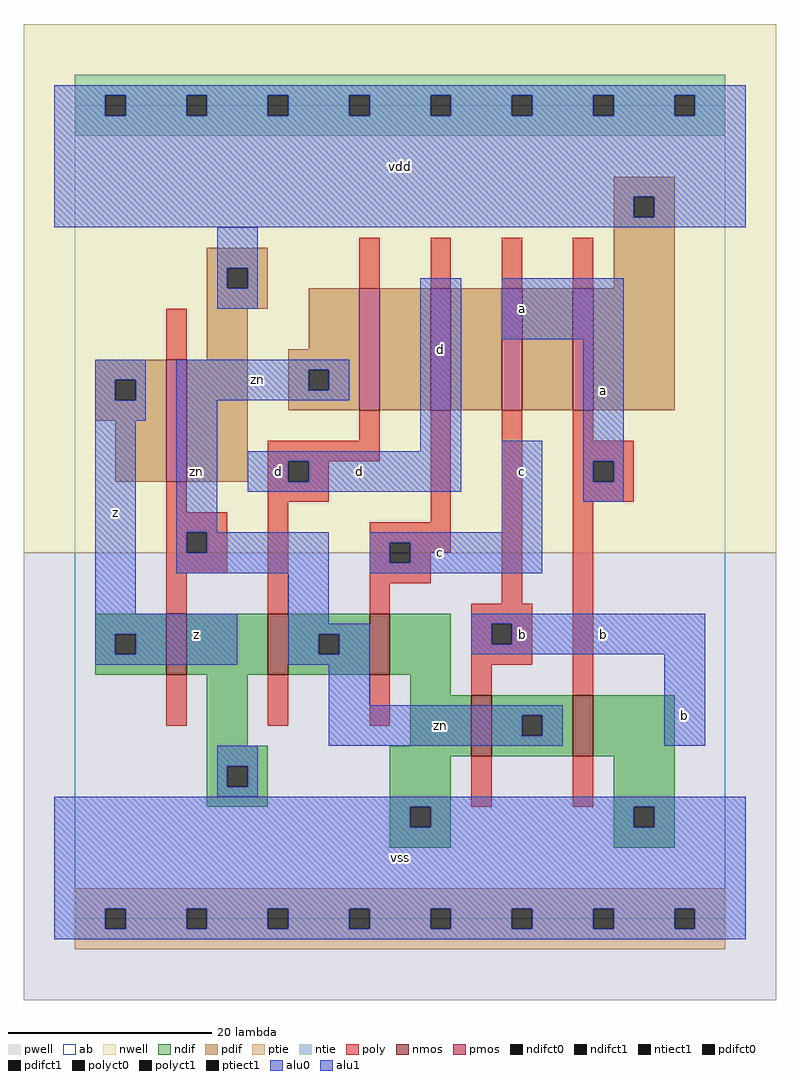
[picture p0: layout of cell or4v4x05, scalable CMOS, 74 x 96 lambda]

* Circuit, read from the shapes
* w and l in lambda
.subckt or4v4x05 a b c d vdd vss z zn
M1 vss zn z vss nfet w=6 l=2
M2 zn d vss vss nfet w=6 l=2
M3 vss c zn vss nfet w=6 l=2
M4 zn b vss vss nfet w=6 l=2
M5 vss a zn vss nfet w=6 l=2
M6 vdd zn z vdd pfet w=12 l=2
M7 n1 d zn vdd pfet w=12 l=2
M8 n2 c n1 vdd pfet w=12 l=2
M9 n3 b n2 vdd pfet w=12 l=2
M10 vdd a n3 vdd pfet w=12 l=2
.ends

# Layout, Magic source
magic
tech scmos
<< ab >>
rect 0 0 64 80
<< nwell >>
rect -5 36 69 88
<< pwell >>
rect -5 -8 69 36
<< poly >>
rect 28 62 30 67
rect 35 62 37 67
rect 42 62 44 67
rect 49 62 51 67
rect 9 55 11 60
rect 28 47 30 50
rect 19 45 30 47
rect 19 43 21 45
rect 23 43 25 45
rect 9 40 11 43
rect 19 41 25 43
rect 9 38 15 40
rect 9 36 11 38
rect 13 36 15 38
rect 9 34 15 36
rect 9 30 11 34
rect 19 30 21 41
rect 35 39 37 50
rect 29 37 37 39
rect 29 35 31 37
rect 33 36 37 37
rect 33 35 35 36
rect 29 33 35 35
rect 29 30 31 33
rect 42 31 44 50
rect 49 47 51 50
rect 49 45 55 47
rect 49 43 51 45
rect 53 43 55 45
rect 49 41 55 43
rect 9 19 11 24
rect 19 19 21 24
rect 29 19 31 24
rect 39 29 45 31
rect 39 27 41 29
rect 43 27 45 29
rect 39 25 45 27
rect 39 22 41 25
rect 49 22 51 41
rect 39 11 41 16
rect 49 11 51 16
<< ndif >>
rect 2 28 9 30
rect 2 26 4 28
rect 6 26 9 28
rect 2 24 9 26
rect 11 24 19 30
rect 21 28 29 30
rect 21 26 24 28
rect 26 26 29 28
rect 21 24 29 26
rect 31 24 37 30
rect 13 17 17 24
rect 33 22 37 24
rect 33 17 39 22
rect 13 15 19 17
rect 13 13 15 15
rect 17 13 19 15
rect 13 11 19 13
rect 31 16 39 17
rect 41 20 49 22
rect 41 18 44 20
rect 46 18 49 20
rect 41 16 49 18
rect 51 16 59 22
rect 31 11 37 16
rect 53 11 59 16
rect 31 9 33 11
rect 35 9 37 11
rect 31 7 37 9
rect 53 9 55 11
rect 57 9 59 11
rect 53 7 59 9
<< pdif >>
rect 53 71 59 73
rect 53 69 55 71
rect 57 69 59 71
rect 13 64 19 66
rect 13 62 15 64
rect 17 62 19 64
rect 53 62 59 69
rect 13 60 19 62
rect 13 55 17 60
rect 23 56 28 62
rect 2 53 9 55
rect 2 51 4 53
rect 6 51 9 53
rect 2 49 9 51
rect 4 43 9 49
rect 11 43 17 55
rect 21 54 28 56
rect 21 52 23 54
rect 25 52 28 54
rect 21 50 28 52
rect 30 50 35 62
rect 37 50 42 62
rect 44 50 49 62
rect 51 50 59 62
<< alu1 >>
rect -2 81 66 82
rect -2 79 3 81
rect 5 79 11 81
rect 13 79 19 81
rect 21 79 27 81
rect 29 79 35 81
rect 37 79 43 81
rect 45 79 51 81
rect 53 79 59 81
rect 61 79 66 81
rect -2 71 66 79
rect -2 69 55 71
rect 57 69 66 71
rect -2 68 66 69
rect 2 53 7 55
rect 2 51 4 53
rect 6 51 7 53
rect 2 49 7 51
rect 2 30 6 49
rect 34 46 38 63
rect 42 57 54 63
rect 17 45 38 46
rect 17 43 21 45
rect 23 43 38 45
rect 17 42 38 43
rect 42 38 46 47
rect 50 45 54 57
rect 50 43 51 45
rect 53 43 54 45
rect 50 41 54 43
rect 29 37 46 38
rect 29 35 31 37
rect 33 35 46 37
rect 29 34 46 35
rect 2 28 16 30
rect 2 26 4 28
rect 6 26 16 28
rect 2 25 16 26
rect 39 29 62 30
rect 39 27 41 29
rect 43 27 62 29
rect 39 26 62 27
rect 58 17 62 26
rect -2 11 66 12
rect -2 9 33 11
rect 35 9 55 11
rect 57 9 66 11
rect -2 1 66 9
rect -2 -1 3 1
rect 5 -1 11 1
rect 13 -1 19 1
rect 21 -1 27 1
rect 29 -1 35 1
rect 37 -1 43 1
rect 45 -1 51 1
rect 53 -1 59 1
rect 61 -1 66 1
rect -2 -2 66 -1
<< ptie >>
rect 0 1 64 3
rect 0 -1 3 1
rect 5 -1 11 1
rect 13 -1 19 1
rect 21 -1 27 1
rect 29 -1 35 1
rect 37 -1 43 1
rect 45 -1 51 1
rect 53 -1 59 1
rect 61 -1 64 1
rect 0 -3 64 -1
<< ntie >>
rect 0 81 64 83
rect 0 79 3 81
rect 5 79 11 81
rect 13 79 19 81
rect 21 79 27 81
rect 29 79 35 81
rect 37 79 43 81
rect 45 79 51 81
rect 53 79 59 81
rect 61 79 64 81
rect 0 77 64 79
<< nmos >>
rect 9 24 11 30
rect 19 24 21 30
rect 29 24 31 30
rect 39 16 41 22
rect 49 16 51 22
<< pmos >>
rect 9 43 11 55
rect 28 50 30 62
rect 35 50 37 62
rect 42 50 44 62
rect 49 50 51 62
<< polyct0 >>
rect 11 36 13 38
<< polyct1 >>
rect 21 43 23 45
rect 31 35 33 37
rect 51 43 53 45
rect 41 27 43 29
<< ndifct0 >>
rect 24 26 26 28
rect 15 13 17 15
rect 44 18 46 20
<< ndifct1 >>
rect 4 26 6 28
rect 33 9 35 11
rect 55 9 57 11
<< ntiect1 >>
rect 3 79 5 81
rect 11 79 13 81
rect 19 79 21 81
rect 27 79 29 81
rect 35 79 37 81
rect 43 79 45 81
rect 51 79 53 81
rect 59 79 61 81
<< ptiect1 >>
rect 3 -1 5 1
rect 11 -1 13 1
rect 19 -1 21 1
rect 27 -1 29 1
rect 35 -1 37 1
rect 43 -1 45 1
rect 51 -1 53 1
rect 59 -1 61 1
<< pdifct0 >>
rect 15 62 17 64
rect 23 52 25 54
<< pdifct1 >>
rect 55 69 57 71
rect 4 51 6 53
<< alu0 >>
rect 14 64 18 68
rect 14 62 15 64
rect 17 62 18 64
rect 14 60 18 62
rect 10 54 27 55
rect 10 52 23 54
rect 25 52 27 54
rect 10 51 27 52
rect 10 38 14 51
rect 10 36 11 38
rect 13 36 25 38
rect 10 34 25 36
rect 21 29 25 34
rect 21 28 29 29
rect 21 26 24 28
rect 26 26 29 28
rect 21 25 29 26
rect 25 21 29 25
rect 25 20 48 21
rect 25 18 44 20
rect 46 18 48 20
rect 25 17 48 18
rect 14 15 18 17
rect 14 13 15 15
rect 17 13 18 15
rect 14 12 18 13
<< labels >>
rlabel alu0 12 44 12 44 6 zn
rlabel alu0 18 53 18 53 6 zn
rlabel alu0 36 19 36 19 6 zn
rlabel alu1 12 28 12 28 6 z
rlabel alu1 4 40 4 40 6 z
rlabel alu1 20 44 20 44 6 d
rlabel alu1 28 44 28 44 6 d
rlabel alu1 32 6 32 6 6 vss
rlabel alu1 36 36 36 36 6 c
rlabel alu1 44 28 44 28 6 b
rlabel alu1 44 44 44 44 6 c
rlabel alu1 36 56 36 56 6 d
rlabel alu1 44 60 44 60 6 a
rlabel alu1 32 74 32 74 6 vdd
rlabel alu1 60 20 60 20 6 b
rlabel alu1 52 28 52 28 6 b
rlabel alu1 52 52 52 52 6 a
<< end >>
